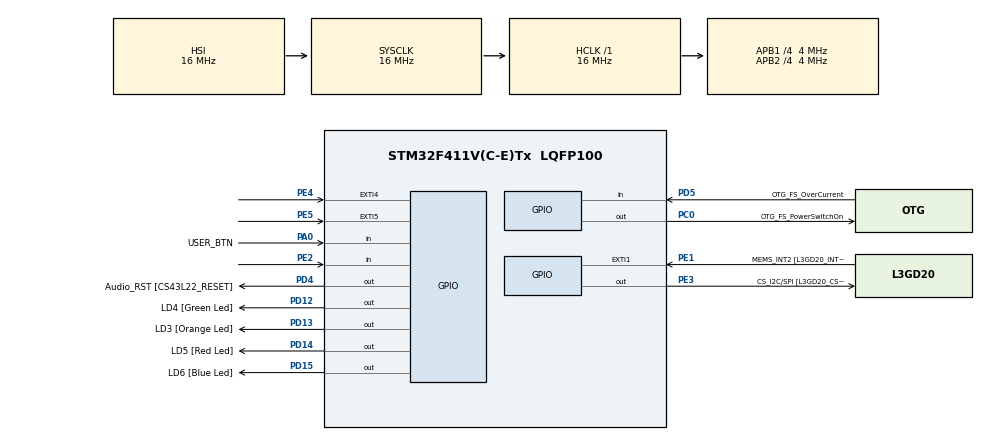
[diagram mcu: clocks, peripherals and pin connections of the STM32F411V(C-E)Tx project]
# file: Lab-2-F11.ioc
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Mcu.Family=STM32F4
Mcu.Name=STM32F411V(C-E)Tx
Mcu.Package=LQFP100
NVIC.PriorityGroup=NVIC_PRIORITYGROUP_0
NVIC.TIM3_IRQn=true\:0\:0\:false\:false\:true\:true\:true\:true
NVIC.TIM4_IRQn=true\:0\:0\:false\:false\:true\:true\:true\:true
PA0-WKUP.GPIO_Label=USER_BTN
PA0-WKUP.Signal=GPIO_Input
PA10.GPIO_Label=OTG_FS_ID
PA10.Signal=USB_OTG_FS_ID
PA11.GPIO_Label=OTG_FS_DM
PA11.Signal=USB_OTG_FS_DM
PA12.GPIO_Label=OTG_FS_DP
PA12.Signal=USB_OTG_FS_DP
PA13.GPIO_Label=SWDIO
PA13.Mode=Serial_Wire
PA13.Signal=SYS_JTMS-SWDIO
PA14.GPIO_Label=SWCLK
PA14.Mode=Serial_Wire
PA14.Signal=SYS_JTCK-SWCLK
PA4.GPIO_Label=I2S3_WS [CS43L22_LRCK]
PA4.GPIO_Mode=GPIO_MODE_AF_PP
PA4.GPIO_PuPd=GPIO_NOPULL
PA4.GPIO_Speed=GPIO_SPEED_FREQ_LOW
PA4.Signal=I2S3_WS
PA5.GPIO_Label=SPI1_SCK [L3GD20_SC/SPC]
PA5.Signal=SPI1_SCK
PA6.GPIO_Label=SPI1_MISO [L3GD20_AS0/SDO]
PA6.Signal=SPI1_MISO
PA7.GPIO_Label=SPI1_MOSI [L3GD20_SDA/SDI/SDO]
PA7.Signal=SPI1_MOSI
PA9.GPIO_Label=VBUS_FS
PA9.Signal=USB_OTG_FS_VBUS
PB10.GPIO_Label=CLK_IN [MP45DT02_CLK]
PB10.Signal=I2S2_CK
PB12.Signal=I2S2_WS
PB3.GPIO_Label=SWO
PB3.Signal=SYS_JTDO-SWO
PB6.GPIO_Label=Audio_SCL [CS43L22_SCL]
PB6.GPIO_Mode=GPIO_MODE_AF_OD
PB6.GPIO_PuPd=GPIO_NOPULL
PB6.GPIO_Speed=GPIO_SPEED_FREQ_LOW
PB6.Signal=I2C1_SCL
PB9.GPIO_Label=Audio_SDA [CS43L22_SDA]
PB9.GPIO_Mode=GPIO_MODE_AF_OD
PB9.GPIO_PuPd=GPIO_NOPULL
PB9.GPIO_Speed=GPIO_SPEED_FREQ_LOW
PB9.Signal=I2C1_SDA
PC0.GPIO_Label=OTG_FS_PowerSwitchOn
PC0.PinState=GPIO_PIN_SET
PC0.Signal=GPIO_Output
PC10.GPIO_Label=I2S3_SCK [CS43L22_SCLK]
PC10.GPIO_Mode=GPIO_MODE_AF_PP
PC10.GPIO_PuPd=GPIO_NOPULL
PC10.GPIO_Speed=GPIO_SPEED_FREQ_LOW
PC10.Signal=I2S3_CK
PC12.GPIO_Label=I2S3_SD [CS43L22_SDIN]
PC12.GPIO_Mode=GPIO_MODE_AF_PP
PC12.GPIO_PuPd=GPIO_NOPULL
PC12.GPIO_Speed=GPIO_SPEED_FREQ_LOW
PC12.Signal=I2S3_SD
PC14-OSC32_IN.GPIO_Label=PC14-OSC32_IN
PC14-OSC32_IN.Signal=RCC_OSC32_IN
PC15-OSC32_OUT.GPIO_Label=PC15-OSC32_OUT
PC15-OSC32_OUT.Signal=RCC_OSC32_OUT
PC3.GPIO_Label=PDM_OUT [MP45DT02_DOUT]
PC3.Signal=I2S2_SD
PC7.GPIO_Label=I2S3_MCK [CS43L22_MCLK]
PC7.GPIO_Mode=GPIO_MODE_AF_PP
PC7.GPIO_PuPd=GPIO_NOPULL
PC7.GPIO_Speed=GPIO_SPEED_FREQ_LOW
PC7.Signal=I2S3_MCK
PD12.GPIO_Label=LD4 [Green Led]
PD12.GPIO_PuPd=GPIO_NOPULL
PD12.GPIO_Speed=GPIO_SPEED_FREQ_LOW
PD12.Signal=GPIO_Output
PD13.GPIO_Label=LD3 [Orange Led]
PD13.GPIO_PuPd=GPIO_NOPULL
PD13.GPIO_Speed=GPIO_SPEED_FREQ_LOW
PD13.Signal=GPIO_Output
PD14.GPIO_Label=LD5 [Red Led]
PD14.GPIO_PuPd=GPIO_NOPULL
PD14.GPIO_Speed=GPIO_SPEED_FREQ_LOW
PD14.Signal=GPIO_Output
PD15.GPIO_Label=LD6 [Blue Led]
PD15.GPIO_PuPd=GPIO_NOPULL
PD15.GPIO_Speed=GPIO_SPEED_FREQ_LOW
PD15.Signal=GPIO_Output
PD4.GPIO_Label=Audio_RST [CS43L22_RESET]
PD4.Signal=GPIO_Output
PD5.GPIO_Label=OTG_FS_OverCurrent
PD5.Signal=GPIO_Input
PE1.GPIO_Label=MEMS_INT2 [L3GD20_INT2]
PE1.GPIO_ModeDefaultEXTI=GPIO_MODE_EVT_RISING
PE1.Signal=GPXTI1
PE2.Signal=GPIO_Input
PE3.GPIO_Label=CS_I2C/SPI [L3GD20_CS_I2C/SPI]
PE3.Signal=GPIO_Output
PE4.GPIO_ModeDefaultEXTI=GPIO_MODE_EVT_RISING
PE4.Signal=GPXTI4
PE5.GPIO_ModeDefaultEXTI=GPIO_MODE_EVT_RISING
PE5.Signal=GPXTI5
PH0\ -\ OSC_IN.GPIO_Label=PH0-OSC_IN
PH0\ -\ OSC_IN.Signal=RCC_OSC_IN
PH1\ -\ OSC_OUT.GPIO_Label=PH1-OSC_OUT
PH1\ -\ OSC_OUT.Signal=RCC_OSC_OUT
ProjectManager.HeapSize=0x200
ProjectManager.StackSize=0x400
ProjectManager.TargetToolchain=STM32CubeIDE
RCC.48MHZClocksFreq_Value=48000000
RCC.AHBFreq_Value=16000000
RCC.APB1CLKDivider=RCC_HCLK_DIV4
RCC.APB1Freq_Value=4000000
RCC.APB1TimFreq_Value=8000000
RCC.APB2CLKDivider=RCC_HCLK_DIV4
RCC.APB2Freq_Value=4000000
RCC.APB2TimFreq_Value=8000000
RCC.CortexFreq_Value=16000000
RCC.HCLKFreq_Value=16000000
RCC.HSE_VALUE=8000000
RCC.HSI_VALUE=16000000
RCC.LSE_VALUE=32768
RCC.PLLI2SM=5
RCC.PLLI2SN=200
RCC.PLLM=8
RCC.PLLP=RCC_PLLP_DIV4
RCC.PLLQ=8
RCC.SYSCLKFreq_VALUE=16000000
RCC.VCOOutputFreq_Value=384000000
TIM2.Channel-Output\ Compare1\ No\ Output=TIM_CHANNEL_1
TIM2.Period=99
TIM2.Prescaler=7999
TIM3.Channel-Output\ Compare1\ No\ Output=TIM_CHANNEL_1
TIM3.Period=499
TIM3.Prescaler=7999
TIM4.Channel-Output\ Compare1\ No\ Output=TIM_CHANNEL_1
TIM4.Period=9
TIM4.Prescaler=7999
VP_TIM2_VS_ClockSourceINT.Mode=Internal
VP_TIM2_VS_no_output1.Mode=Output Compare1 No Output
VP_TIM3_VS_ClockSourceINT.Mode=Internal
VP_TIM3_VS_no_output1.Mode=Output Compare1 No Output
VP_TIM4_VS_ClockSourceINT.Mode=Internal
VP_TIM4_VS_no_output1.Mode=Output Compare1 No Output
board=STM32F411E-DISCO

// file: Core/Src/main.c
/* USER CODE BEGIN Header */
/**
  ******************************************************************************
  * @file           : main.c
  * @brief          : Main program body
  ******************************************************************************
  * @attention
  *
  * Copyright (c) 2026 STMicroelectronics.
  * All rights reserved.
  *
  * This software is licensed under terms that can be found in the LICENSE file
  * in the root directory of this software component.
  * If no LICENSE file comes with this software, it is provided AS-IS.
  *
  ******************************************************************************
  */
/* USER CODE END Header */
#include "main.h"
#include "tim.h"
#include "gpio.h"

/* USER CODE BEGIN PV */
volatile uint8_t button_pressed_flag = 0; // Obligatorio el uso de volatile

/* USER CODE END PV */

void SystemClock_Config(void);
/* USER CODE BEGIN PFP */
void AvanzarSecuenciaLEDs(void);
/* USER CODE END PFP */

int main(void)
{

  /* MCU Configuration--------------------------------------------------------*/

  /* Reset of all peripherals, Initializes the Flash interface and the Systick. */
  HAL_Init();

  /* Configure the system clock */
  SystemClock_Config();

  /* Initialize all configured peripherals */
  MX_GPIO_Init();
  MX_TIM2_Init();
  MX_TIM3_Init();
  MX_TIM4_Init();
  /* USER CODE BEGIN 2 */
  uint32_t previousTime = 0;
  uint32_t currentTime = 0;
  uint8_t state = 0;
  uint8_t previousState = GPIO_PIN_RESET;
  uint8_t currentState;
  HAL_TIM_Base_Start(&htim2);
  HAL_TIM_Base_Start_IT(&htim3);
  HAL_TIM_Base_Start_IT(&htim4);
  /* USER CODE END 2 */

  /* Infinite loop */
  while (1)
  {

    /* USER CODE BEGIN 3 */
	  /*  if (HAL_GPIO_ReadPin(GPIOA, GPIO_PIN_0) == GPIO_PIN_SET) {
	  		  HAL_Delay(50); // Antirrebote bloqueante
	  		  if (HAL_GPIO_ReadPin(GPIOA, GPIO_PIN_0) == GPIO_PIN_SET) {
	  			  HAL_GPIO_TogglePin(GPIOD, GPIO_PIN_14);
	  			  // Esperar a que se suelte el botón para evitar múltiples toggles
	  			  while(HAL_GPIO_ReadPin(GPIOA, GPIO_PIN_0) == GPIO_PIN_SET);
	  		  }
	  	  }
	  	*/
	  	//-------------- Desafio 2----------------------
	  	/*  currentTime = HAL_GetTick();

	  	  if (currentTime - previousTime >= 250) {
	  		  previousTime = currentTime;
	  		  HAL_GPIO_TogglePin(LD6_GPIO_Port, LD6_Pin);
	  	  }

	  	  if (HAL_GPIO_ReadPin(USER_BTN_GPIO_Port, USER_BTN_Pin) == GPIO_PIN_SET) {
	  		  HAL_GPIO_WritePin(LD4_GPIO_Port, LD4_Pin, GPIO_PIN_SET);
	  	  } else {
	  		  HAL_GPIO_WritePin(LD4_GPIO_Port, LD4_Pin, GPIO_PIN_RESET);
	  	  }
		*/
	  // ------------ Desafio 3 -------------------------------
	  /*currentState = HAL_GPIO_ReadPin(USER_BTN_GPIO_Port, USER_BTN_Pin);
	  if (currentState == GPIO_PIN_SET && previousState == GPIO_PIN_RESET){
		  HAL_Delay(50);
		  if(HAL_GPIO_ReadPin(USER_BTN_GPIO_Port, USER_BTN_Pin) == GPIO_PIN_SET){
			  state++;
			  if (state > 2){
				  state = 0;
			  }
			  previousTime = HAL_GetTick();
		  }
	  }
	  previousState = currentState;
	  currentTime = HAL_GetTick();
	  switch (state) {
		case 1:
			if (currentTime - previousTime >= 1000) {
				HAL_GPIO_TogglePin(LD3_GPIO_Port, LD3_Pin);
				HAL_GPIO_TogglePin(LD4_GPIO_Port, LD4_Pin);
				HAL_GPIO_TogglePin(LD5_GPIO_Port, LD5_Pin);
				HAL_GPIO_TogglePin(LD6_GPIO_Port, LD6_Pin);
				previousTime = currentTime;
			}
			break;
		case 2:
			if (currentTime - previousTime >= 200) {
				HAL_GPIO_TogglePin(LD3_GPIO_Port, LD3_Pin);
				HAL_GPIO_TogglePin(LD4_GPIO_Port, LD4_Pin);
				HAL_GPIO_TogglePin(LD5_GPIO_Port, LD5_Pin);
				HAL_GPIO_TogglePin(LD6_GPIO_Port, LD6_Pin);
				previousTime = currentTime;
			}
			break;
		default:
			HAL_GPIO_WritePin(LD3_GPIO_Port, LD3_Pin, GPIO_PIN_RESET);
			HAL_GPIO_WritePin(LD4_GPIO_Port, LD4_Pin, GPIO_PIN_RESET);
			HAL_GPIO_WritePin(LD5_GPIO_Port, LD5_Pin, GPIO_PIN_RESET);
			HAL_GPIO_WritePin(LD6_GPIO_Port, LD6_Pin, GPIO_PIN_RESET);
			break;
	}
	*/
	//-------------------Desafio 4-------------------------------

	  /*if (__HAL_TIM_GET_FLAG(&htim2, TIM_FLAG_UPDATE) != RESET) {
		  __HAL_TIM_CLEAR_FLAG(&htim2, TIM_FLAG_UPDATE);
		  // Ejecutar avance de la secuencia de LEDs
		  AvanzarSecuenciaLEDs();
	  }*/

	//--------------------Desafio 5-------------------------------
	//--------------------Desafio 6-------------------------------
	if (button_pressed_flag) {
		button_pressed_flag = 0;
		HAL_GPIO_TogglePin(GPIOD, GPIO_PIN_15);
	}
  }
  /* USER CODE END 3 */
}

void SystemClock_Config(void)
{
  RCC_OscInitTypeDef RCC_OscInitStruct = {0};
  RCC_ClkInitTypeDef RCC_ClkInitStruct = {0};

  /** Configure the main internal regulator output voltage
  */
  __HAL_RCC_PWR_CLK_ENABLE();
  __HAL_PWR_VOLTAGESCALING_CONFIG(PWR_REGULATOR_VOLTAGE_SCALE1);

  /** Initializes the RCC Oscillators according to the specified parameters
  * in the RCC_OscInitTypeDef structure.
  */
  RCC_OscInitStruct.OscillatorType = RCC_OSCILLATORTYPE_HSI;
  RCC_OscInitStruct.HSIState = RCC_HSI_ON;
  RCC_OscInitStruct.HSICalibrationValue = RCC_HSICALIBRATION_DEFAULT;
  RCC_OscInitStruct.PLL.PLLState = RCC_PLL_NONE;
  if (HAL_RCC_OscConfig(&RCC_OscInitStruct) != HAL_OK)
  {
    Error_Handler();
  }

  /** Initializes the CPU, AHB and APB buses clocks
  */
  RCC_ClkInitStruct.ClockType = RCC_CLOCKTYPE_HCLK|RCC_CLOCKTYPE_SYSCLK
                              |RCC_CLOCKTYPE_PCLK1|RCC_CLOCKTYPE_PCLK2;
  RCC_ClkInitStruct.SYSCLKSource = RCC_SYSCLKSOURCE_HSI;
  RCC_ClkInitStruct.AHBCLKDivider = RCC_SYSCLK_DIV1;
  RCC_ClkInitStruct.APB1CLKDivider = RCC_HCLK_DIV4;
  RCC_ClkInitStruct.APB2CLKDivider = RCC_HCLK_DIV4;

  if (HAL_RCC_ClockConfig(&RCC_ClkInitStruct, FLASH_LATENCY_0) != HAL_OK)
  {
    Error_Handler();
  }
}

/* USER CODE BEGIN 4 */
uint8_t state = 0;
void AvanzarSecuenciaLEDs(void)
{
	switch (state) {
		case 0:
			HAL_GPIO_WritePin(LD4_GPIO_Port, LD4_Pin, GPIO_PIN_SET);
			HAL_GPIO_WritePin(LD3_GPIO_Port, LD3_Pin, GPIO_PIN_RESET);
			state++;
			break;
		case 1:
			HAL_GPIO_WritePin(LD4_GPIO_Port, LD4_Pin, GPIO_PIN_RESET);
			HAL_GPIO_WritePin(LD3_GPIO_Port, LD3_Pin, GPIO_PIN_SET);
			state++;
			break;
		case 2:
			HAL_GPIO_WritePin(LD3_GPIO_Port, LD3_Pin, GPIO_PIN_RESET);
			HAL_GPIO_WritePin(LD5_GPIO_Port, LD5_Pin, GPIO_PIN_SET);
			state++;
			break;
		case 3:
			HAL_GPIO_WritePin(LD5_GPIO_Port, LD5_Pin, GPIO_PIN_RESET);
			HAL_GPIO_WritePin(LD6_GPIO_Port, LD6_Pin, GPIO_PIN_SET);
			state++;
			break;
		case 4:
			HAL_GPIO_WritePin(LD6_GPIO_Port, LD6_Pin, GPIO_PIN_RESET);
			HAL_GPIO_WritePin(LD5_GPIO_Port, LD5_Pin, GPIO_PIN_SET);
			state++;
			break;
		case 5:
			HAL_GPIO_WritePin(LD5_GPIO_Port, LD5_Pin, GPIO_PIN_RESET);
			HAL_GPIO_WritePin(LD3_GPIO_Port, LD3_Pin, GPIO_PIN_SET);
			state = 0;
			break;
		default:
			state = 0;
			break;
	}
}

/*void HAL_TIM_PeriodElapsedCallback(TIM_HandleTypeDef *htim) {
	if (htim->Instance == TIM3) {
		HAL_GPIO_TogglePin(GPIOD, GPIO_PIN_13);
	}
}*/

void HAL_TIM_PeriodElapsedCallback(TIM_HandleTypeDef *htim) {
	if (htim->Instance == TIM4) {
		static uint8_t press_counter = 0;
		if (HAL_GPIO_ReadPin(GPIOA, GPIO_PIN_0) == GPIO_PIN_SET) {
			press_counter++;
			if (press_counter == 5) {
				button_pressed_flag = 1; // Notificar al super-loop
			}
		} else {
			press_counter = 0; // Reiniciar si se detecta ruido o se soltó
		}
	}
}
/* USER CODE END 4 */

void Error_Handler(void)
{
  __disable_irq();
  while (1)
  {
  }
}
